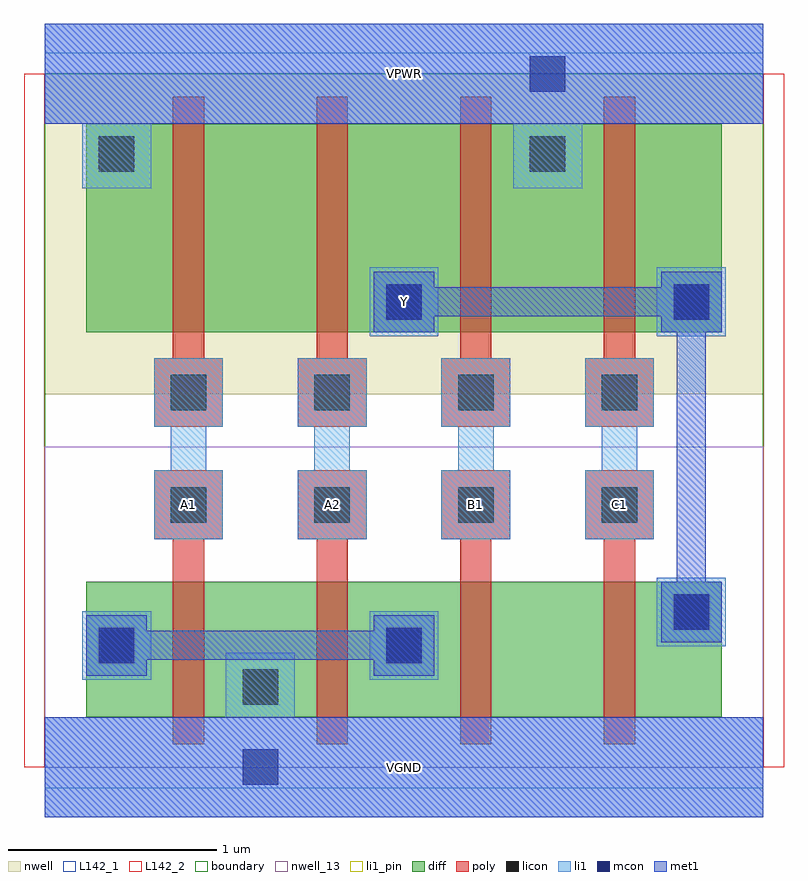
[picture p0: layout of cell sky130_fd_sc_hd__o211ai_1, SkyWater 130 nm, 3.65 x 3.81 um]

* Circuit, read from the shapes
.subckt sky130_fd_sc_hd__o211ai_1 A1 A2 B1 C1 VGND VPWR Y
XM1 VGND A1 n1 VSUBS sky130_fd_pr__nfet_01v8 w=0.65 l=0.15
XM2 n1 A2 VGND VSUBS sky130_fd_pr__nfet_01v8 w=0.65 l=0.15
XM3 n2 B1 n1 VSUBS sky130_fd_pr__nfet_01v8 w=0.65 l=0.15
XM4 Y C1 n2 VSUBS sky130_fd_pr__nfet_01v8 w=0.65 l=0.15
XM5 n3 A1 VPWR n4 sky130_fd_pr__pfet_01v8 w=1 l=0.15
XM6 Y A2 n3 n4 sky130_fd_pr__pfet_01v8 w=1 l=0.15
XM7 VPWR B1 Y n4 sky130_fd_pr__pfet_01v8 w=1 l=0.15
XM8 Y C1 VPWR n4 sky130_fd_pr__pfet_01v8 w=1 l=0.15
.ends

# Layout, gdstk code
import gdstk
lib = gdstk.Library(unit=1e-6, precision=1e-09)
def R(c, l, rs):  # rectangles x0, y0, x1, y1
    for r in rs: c.add(gdstk.rectangle(r[:2], r[2:], *l))
def A(c, l, x, y, w, h, nx, ny, dx, dy):  # array of equal rectangles
    R(c, l, [(x+i*dx, y+j*dy, x+i*dx+w, y+j*dy+h) for i in range(nx) for j in range(ny)])
def P(c, l, *ps):  # polygons
    for p in ps: c.add(gdstk.Polygon(p, *l))
nwell_13 = (64, 13)
nwell = (64, 20)
diff = (65, 20)
poly = (66, 20)
licon = (66, 44)
li1_pin = (67, 16)
li1 = (67, 20)
mcon = (67, 44)
met1 = (68, 20)
L142_1 = (142, 1)
L142_2 = (142, 2)
boundary = (235, 4)

sky130_fd_sc_hd__o211ai_ = lib.new_cell('sky130_fd_sc_hd__o211ai_1')
R(sky130_fd_sc_hd__o211ai_, nwell_13, [(0,0,3.45,1.54)])
R(sky130_fd_sc_hd__o211ai_, nwell, [(0,1.79,3.45,3.33)])
A(sky130_fd_sc_hd__o211ai_, diff, 0.615, 0.24, 0.69, 0.65, 3, 1, 0.69, 0)
A(sky130_fd_sc_hd__o211ai_, diff, 0.615, 2.09, 0.69, 1, 3, 1, 0.69, 0)
R(sky130_fd_sc_hd__o211ai_, diff, [(0.2,0.24,3.25,0.89), (0.2,0.24,0.615,0.89), (2.685,0.24,3.25,0.89), (0.2,2.09,3.25,3.09), (0.2,2.09,0.615,3.09), (2.685,2.09,3.25,3.09)])
P(sky130_fd_sc_hd__o211ai_, poly, [(1.305,0.11),(1.305,1.095),(1.215,1.095),(1.215,1.425),(1.545,1.425),(1.545,1.095),(1.455,1.095),(1.455,0.11)],
  [(1.215,1.635),(1.215,1.965),(1.305,1.965),(1.305,3.22),(1.455,3.22),(1.455,1.965),(1.545,1.965),(1.545,1.635)],
  [(0.615,0.11),(0.615,1.095),(0.525,1.095),(0.525,1.425),(0.855,1.425),(0.855,1.095),(0.765,1.095),(0.765,0.11)],
  [(0.525,1.635),(0.525,1.965),(0.615,1.965),(0.615,3.22),(0.765,3.22),(0.765,1.965),(0.855,1.965),(0.855,1.635)],
  [(2.685,0.11),(2.685,1.095),(2.595,1.095),(2.595,1.425),(2.925,1.425),(2.925,1.095),(2.835,1.095),(2.835,0.11)],
  [(2.595,1.635),(2.595,1.965),(2.685,1.965),(2.685,3.22),(2.835,3.22),(2.835,1.965),(2.925,1.965),(2.925,1.635)],
  [(1.995,0.11),(1.995,1.095),(1.905,1.095),(1.905,1.425),(2.235,1.425),(2.235,1.095),(2.145,1.095),(2.145,0.11)],
  [(1.905,1.635),(1.905,1.965),(1.995,1.965),(1.995,3.22),(2.145,3.22),(2.145,1.965),(2.235,1.965),(2.235,1.635)])
A(sky130_fd_sc_hd__o211ai_, licon, 0.605, 1.175, 0.17, 0.17, 4, 2, 0.69, 0.54)
R(sky130_fd_sc_hd__o211ai_, licon, [(0.95,0.3,1.12,0.47), (0.26,0.5,0.43,0.67), (1.64,0.5,1.81,0.67), (3.02,0.66,3.19,0.83), (1.64,2.15,1.81,2.32), (3.02,2.15,3.19,2.32), (0.26,2.86,0.43,3.03), (2.33,2.86,2.5,3.03)])
R(sky130_fd_sc_hd__o211ai_, li1_pin, [(0,-0.24,3.45,0.24), (1.56,2.07,1.89,2.4), (0,3.09,3.45,3.57)])
P(sky130_fd_sc_hd__o211ai_, li1_pin, [(2.595,1.095),(2.595,1.425),(2.675,1.425),(2.675,1.635),(2.595,1.635),(2.595,1.965),(2.925,1.965),(2.925,1.635),(2.845,1.635),(2.845,1.425),(2.925,1.425),(2.925,1.095)],
  [(0.525,1.095),(0.525,1.425),(0.605,1.425),(0.605,1.635),(0.525,1.635),(0.525,1.965),(0.855,1.965),(0.855,1.635),(0.775,1.635),(0.775,1.425),(0.855,1.425),(0.855,1.095)],
  [(1.905,1.095),(1.905,1.425),(1.985,1.425),(1.985,1.635),(1.905,1.635),(1.905,1.965),(2.235,1.965),(2.235,1.635),(2.155,1.635),(2.155,1.425),(2.235,1.425),(2.235,1.095)],
  [(1.215,1.095),(1.215,1.425),(1.295,1.425),(1.295,1.635),(1.215,1.635),(1.215,1.965),(1.545,1.965),(1.545,1.635),(1.465,1.635),(1.465,1.425),(1.545,1.425),(1.545,1.095)])
R(sky130_fd_sc_hd__o211ai_, li1, [(0.18,0.42,0.51,0.75), (1.56,0.42,1.89,0.75), (2.94,0.58,3.27,0.91), (1.56,2.07,1.89,2.4), (2.94,2.07,3.27,2.4)])
P(sky130_fd_sc_hd__o211ai_, li1, [(1.215,1.095),(1.215,1.425),(1.295,1.425),(1.295,1.635),(1.215,1.635),(1.215,1.965),(1.545,1.965),(1.545,1.635),(1.465,1.635),(1.465,1.425),(1.545,1.425),(1.545,1.095)],
  [(0.18,2.78),(0.18,3.09),(0,3.09),(0,3.57),(3.45,3.57),(3.45,3.09),(2.58,3.09),(2.58,2.78),(2.25,2.78),(2.25,3.09),(0.51,3.09),(0.51,2.78)],
  [(0.525,1.095),(0.525,1.425),(0.605,1.425),(0.605,1.635),(0.525,1.635),(0.525,1.965),(0.855,1.965),(0.855,1.635),(0.775,1.635),(0.775,1.425),(0.855,1.425),(0.855,1.095)],
  [(0,-0.24),(0,0.24),(0.87,0.24),(0.87,0.55),(1.2,0.55),(1.2,0.24),(3.45,0.24),(3.45,-0.24)],
  [(2.595,1.095),(2.595,1.425),(2.675,1.425),(2.675,1.635),(2.595,1.635),(2.595,1.965),(2.925,1.965),(2.925,1.635),(2.845,1.635),(2.845,1.425),(2.925,1.425),(2.925,1.095)],
  [(1.905,1.095),(1.905,1.425),(1.985,1.425),(1.985,1.635),(1.905,1.635),(1.905,1.965),(2.235,1.965),(2.235,1.635),(2.155,1.635),(2.155,1.425),(2.235,1.425),(2.235,1.095)])
R(sky130_fd_sc_hd__o211ai_, mcon, [(0.95,-0.085,1.12,0.085), (0.26,0.5,0.43,0.67), (1.64,0.5,1.81,0.67), (3.02,0.66,3.19,0.83), (1.64,2.15,1.81,2.32), (3.02,2.15,3.19,2.32), (2.33,3.245,2.5,3.415)])
R(sky130_fd_sc_hd__o211ai_, met1, [(0,-0.24,3.45,0.24), (0,3.09,3.45,3.57)])
P(sky130_fd_sc_hd__o211ai_, met1, [(2.96,0.6),(2.96,0.89),(3.035,0.89),(3.035,2.09),(2.96,2.09),(2.96,2.165),(1.87,2.165),(1.87,2.09),(1.58,2.09),(1.58,2.38),(1.87,2.38),(1.87,2.305),(2.96,2.305),(2.96,2.38),(3.25,2.38),(3.25,2.09),(3.175,2.09),(3.175,0.89),(3.25,0.89),(3.25,0.6)],
  [(0.2,0.44),(0.2,0.73),(0.49,0.73),(0.49,0.655),(1.58,0.655),(1.58,0.73),(1.87,0.73),(1.87,0.44),(1.58,0.44),(1.58,0.515),(0.49,0.515),(0.49,0.44)])
R(sky130_fd_sc_hd__o211ai_, L142_1, [(0,-0.1,3.45,0), (0,3.33,3.45,3.43)])
R(sky130_fd_sc_hd__o211ai_, L142_2, [(-0.1,0,0,3.33), (3.45,0,3.55,3.33)])
R(sky130_fd_sc_hd__o211ai_, boundary, [(0,0,3.45,3.33)])
sky130_fd_sc_hd__o211ai_.add(gdstk.Label('Y', (1.725,2.235), layer=67, texttype=5))
sky130_fd_sc_hd__o211ai_.add(gdstk.Label('C1', (2.76,1.26), layer=67, texttype=5))
sky130_fd_sc_hd__o211ai_.add(gdstk.Label('A1', (0.69,1.26), layer=67, texttype=5))
sky130_fd_sc_hd__o211ai_.add(gdstk.Label('B1', (2.07,1.26), layer=67, texttype=5))
sky130_fd_sc_hd__o211ai_.add(gdstk.Label('A2', (1.38,1.26), layer=67, texttype=5))
sky130_fd_sc_hd__o211ai_.add(gdstk.Label('VGND', (1.725,0), layer=67, texttype=5))
sky130_fd_sc_hd__o211ai_.add(gdstk.Label('VPWR', (1.725,3.33), layer=67, texttype=5))
sky130_fd_sc_hd__o211ai_.add(gdstk.Label('VGND', (1.725,0), layer=68, texttype=5))
sky130_fd_sc_hd__o211ai_.add(gdstk.Label('VPWR', (1.725,3.33), layer=68, texttype=5))

lib.write_gds('sky130_fd_sc_hd__o211ai_1.gds')
